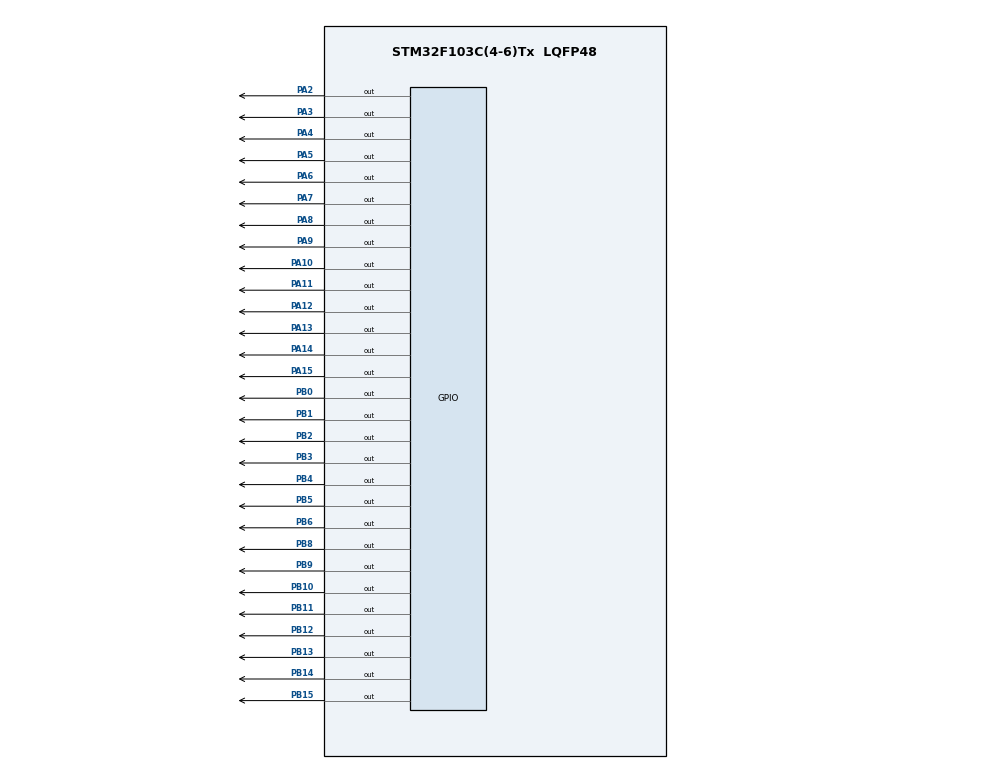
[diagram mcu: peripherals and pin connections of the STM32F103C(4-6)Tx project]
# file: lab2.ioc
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Mcu.Family=STM32F1
Mcu.Name=STM32F103C(4-6)Tx
Mcu.Package=LQFP48
NVIC.PriorityGroup=NVIC_PRIORITYGROUP_4
NVIC.TIM2_IRQn=true\:0\:0\:false\:false\:true\:true\:true
PA10.Signal=GPIO_Output
PA11.Signal=GPIO_Output
PA12.Signal=GPIO_Output
PA13.Signal=GPIO_Output
PA14.Signal=GPIO_Output
PA15.Signal=GPIO_Output
PA2.Signal=GPIO_Output
PA3.Signal=GPIO_Output
PA4.Signal=GPIO_Output
PA5.Signal=GPIO_Output
PA6.Signal=GPIO_Output
PA7.Signal=GPIO_Output
PA8.Signal=GPIO_Output
PA9.Signal=GPIO_Output
PB0.Signal=GPIO_Output
PB1.Signal=GPIO_Output
PB10.Signal=GPIO_Output
PB11.Signal=GPIO_Output
PB12.Signal=GPIO_Output
PB13.Signal=GPIO_Output
PB14.Signal=GPIO_Output
PB15.Signal=GPIO_Output
PB2.Signal=GPIO_Output
PB3.Signal=GPIO_Output
PB4.Signal=GPIO_Output
PB5.Signal=GPIO_Output
PB6.Signal=GPIO_Output
PB8.Signal=GPIO_Output
PB9.Signal=GPIO_Output
PD0-OSC_IN.Mode=HSE-External-Oscillator
PD0-OSC_IN.Signal=RCC_OSC_IN
PD1-OSC_OUT.Mode=HSE-External-Oscillator
PD1-OSC_OUT.Signal=RCC_OSC_OUT
ProjectManager.HeapSize=0x200
ProjectManager.StackSize=0x400
ProjectManager.TargetToolchain=STM32CubeIDE
RCC.APB1Freq_Value=8000000
RCC.APB2Freq_Value=8000000
TIM2.Period=10
TIM2.Prescaler=8000-1
VP_SYS_VS_ND.Mode=No_Debug
VP_TIM2_VS_ClockSourceINT.Mode=Internal
board=custom

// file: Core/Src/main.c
/* USER CODE BEGIN Header */
/**
  ******************************************************************************
  * @file           : main.c
  * @brief          : Main program body
  ******************************************************************************
  * @attention
  *
  * <h2><center>&copy; Copyright (c) 2021 STMicroelectronics.
  * All rights reserved.</center></h2>
  *
  * This software component is licensed by ST under BSD 3-Clause license,
  * the "License"; You may not use this file except in compliance with the
  * License. You may obtain a copy of the License at:
  *                        opensource.org/licenses/BSD-3-Clause
  *
  ******************************************************************************
  */
/* USER CODE END Header */
#include "main.h"

TIM_HandleTypeDef htim2;

void SystemClock_Config(void);
static void MX_GPIO_Init(void);
static void MX_TIM2_Init(void);

/* USER CODE BEGIN 0 */
int timer0_counter = 0;
int timer0_flag=0;
int TIMER_CYCLE = 1;
void setTimer0(int duration){
	timer0_counter = duration / TIMER_CYCLE;
	timer0_flag = 0;
}
int timer1_counter = 0;
int timer1_flag=0;
void setTimer1(int duration){
	timer1_counter = duration / TIMER_CYCLE;
	timer1_flag = 0;
}

void timer_run(){
	if (timer0_counter > 0 ) {
		timer0_counter--;
	}
	if (timer0_counter == 0 ) {
		timer0_flag = 1;
	}
	if (timer1_counter > 0 ) {
		timer1_counter--;
	}
	if (timer1_counter == 0 ) {
		timer1_flag = 1;
	}
}

/* USER CODE END 0 */

int main(void)
{

  /* MCU Configuration--------------------------------------------------------*/

  /* Reset of all peripherals, Initializes the Flash interface and the Systick. */
  HAL_Init();

  /* Configure the system clock */
  SystemClock_Config();

  /* Initialize all configured peripherals */
  MX_GPIO_Init();
  MX_TIM2_Init();
  /* USER CODE BEGIN 2 */
  HAL_TIM_Base_Start_IT(&htim2);
  /* USER CODE END 2 */

  /* Infinite loop */
  /* USER CODE BEGIN WHILE */
  /* USER CODE BEGIN WHILE */
    const int MAX_LED_MATRIX = 8;
    int index_led_matrix = 0;
    uint8_t matrix_buffer[][8] = {
  		  {0x00,0xFE,0xFF,0x11,0x11,0xFF,0xFE,0x00},
  		  {0xFE,0xFF,0x11,0x11,0xFF,0xFE,0x00,0x00},
  		  {0xFF,0x11,0x11,0xFF,0xFE,0x00,0x00,0x00},
  		  {0x11,0x11,0xFF,0xFE,0x00,0x00,0x00,0x00},
  		  {0x11,0x11,0xFF,0xFE,0x00,0x00,0x00,0x00},
  		  {0x11,0xFF,0xFE,0x00,0x00,0x00,0x00,0x00},
  		  {0xFF,0xFE,0x00,0x00,0x00,0x00,0x00,0x00},
  		  {0xFE,0x00,0x00,0x00,0x00,0x00,0x00,0x00},
  		  {0x00,0x00,0x00,0x00,0x00,0x00,0x00,0xFE},
  		  {0x00,0x00,0x00,0x00,0x00,0x00,0xFE,0xFF},
  		  {0x00,0x00,0x00,0x00,0x00,0xFE,0xFF,0x09},
  		  {0x00,0x00,0x00,0x00,0xFE,0xFF,0x09,0x09},
  		  {0x00,0x00,0x00,0xFE,0xFF,0x09,0x09,0xFF},
  		  {0x00,0x00,0xFE,0xFF,0x09,0x09,0xFF,0xFE},
  		  {0x00,0xFE,0xFF,0x11,0x11,0xFF,0xFE,0x00}};
    int i = 0;
    int j = 0;
    setTimer0(1);
    setTimer1(1000);
    while (1)
    {
      /* USER CODE END WHILE */
  	  if (timer0_flag == 1 ){
  		  updateLEDMatrix(i,matrix_buffer[j][i]);
  		  i++;
  		  if (i == 8 ) i = 0;
  		  setTimer0(2);
  	  }
  	  if (timer1_flag == 1 ){
  		  j++;
  		  if (j == 15 ) j = 0;
  		  setTimer1(1000);
  	  }
    }
  }

  void updateLEDMatrix( int index, uint8_t byte ) {
  	switch (index){
  		case 0:
  			ClearAllClock();
  			HAL_GPIO_WritePin(GPIOA, GPIO_PIN_2, 0);
  			HAL_GPIO_WritePin(GPIOB, GPIO_PIN_8, ~byte&0x01);
  			byte = byte >> 1;
  			HAL_GPIO_WritePin(GPIOB, GPIO_PIN_9, ~byte&0x01);
  			byte = byte >> 1;
  			HAL_GPIO_WritePin(GPIOB, GPIO_PIN_10, ~byte&0x01);
  			byte = byte >> 1;
  			HAL_GPIO_WritePin(GPIOB, GPIO_PIN_11, ~byte&0x01);
  			byte = byte >> 1;
  			HAL_GPIO_WritePin(GPIOB, GPIO_PIN_12, ~byte&0x01);
  			byte = byte >> 1;
  			HAL_GPIO_WritePin(GPIOB, GPIO_PIN_13, ~byte&0x01);
  			byte = byte >> 1;
  			HAL_GPIO_WritePin(GPIOB, GPIO_PIN_14, ~byte&0x01);
  			byte = byte >> 1;
  			HAL_GPIO_WritePin(GPIOB, GPIO_PIN_15, ~byte&0x01);
  			byte = byte >> 1;
  			break;
  		case 1:
  			ClearAllClock();
  			HAL_GPIO_WritePin(GPIOA, GPIO_PIN_3, 0);
  			HAL_GPIO_WritePin(GPIOB, GPIO_PIN_8, ~byte&0x01);
  			byte = byte >> 1;
  			HAL_GPIO_WritePin(GPIOB, GPIO_PIN_9, ~byte&0x01);
  			byte = byte >> 1;
  			HAL_GPIO_WritePin(GPIOB, GPIO_PIN_10, ~byte&0x01);
  			byte = byte >> 1;
  			HAL_GPIO_WritePin(GPIOB, GPIO_PIN_11, ~byte&0x01);
  			byte = byte >> 1;
  			HAL_GPIO_WritePin(GPIOB, GPIO_PIN_12, ~byte&0x01);
  			byte = byte >> 1;
  			HAL_GPIO_WritePin(GPIOB, GPIO_PIN_13, ~byte&0x01);
  			byte = byte >> 1;
  			HAL_GPIO_WritePin(GPIOB, GPIO_PIN_14, ~byte&0x01);
  			byte = byte >> 1;
  			HAL_GPIO_WritePin(GPIOB, GPIO_PIN_15, ~byte&0x01);
  			byte = byte >> 1;
  			break;
  		case 2:
  			ClearAllClock();
  			HAL_GPIO_WritePin(GPIOA, GPIO_PIN_10, 0);
  			HAL_GPIO_WritePin(GPIOB, GPIO_PIN_8, ~byte&0x01);
  			byte = byte >> 1;
  			HAL_GPIO_WritePin(GPIOB, GPIO_PIN_9, ~byte&0x01);
  			byte = byte >> 1;
  			HAL_GPIO_WritePin(GPIOB, GPIO_PIN_10, ~byte&0x01);
  			byte = byte >> 1;
  			HAL_GPIO_WritePin(GPIOB, GPIO_PIN_11, ~byte&0x01);
  			byte = byte >> 1;
  			HAL_GPIO_WritePin(GPIOB, GPIO_PIN_12, ~byte&0x01);
  			byte = byte >> 1;
  			HAL_GPIO_WritePin(GPIOB, GPIO_PIN_13, ~byte&0x01);
  			byte = byte >> 1;
  			HAL_GPIO_WritePin(GPIOB, GPIO_PIN_14, ~byte&0x01);
  			byte = byte >> 1;
  			HAL_GPIO_WritePin(GPIOB, GPIO_PIN_15, ~byte&0x01);
  			byte = byte >> 1;
  			break;
  		case 3:
  			ClearAllClock();
  			HAL_GPIO_WritePin(GPIOA, GPIO_PIN_11, 0);
  			HAL_GPIO_WritePin(GPIOB, GPIO_PIN_8, ~byte&0x01);
  			byte = byte >> 1;
  			HAL_GPIO_WritePin(GPIOB, GPIO_PIN_9, ~byte&0x01);
  			byte = byte >> 1;
  			HAL_GPIO_WritePin(GPIOB, GPIO_PIN_10, ~byte&0x01);
  			byte = byte >> 1;
  			HAL_GPIO_WritePin(GPIOB, GPIO_PIN_11, ~byte&0x01);
  			byte = byte >> 1;
  			HAL_GPIO_WritePin(GPIOB, GPIO_PIN_12, ~byte&0x01);
  			byte = byte >> 1;
  			HAL_GPIO_WritePin(GPIOB, GPIO_PIN_13, ~byte&0x01);
  			byte = byte >> 1;
  			HAL_GPIO_WritePin(GPIOB, GPIO_PIN_14, ~byte&0x01);
  			byte = byte >> 1;
  			HAL_GPIO_WritePin(GPIOB, GPIO_PIN_15, ~byte&0x01);
  			byte = byte >> 1;
  			break;
  		case 4:
  			ClearAllClock();
  			HAL_GPIO_WritePin(GPIOA, GPIO_PIN_12, 0);
  			HAL_GPIO_WritePin(GPIOB, GPIO_PIN_8, ~byte&0x01);
  			byte = byte >> 1;
  			HAL_GPIO_WritePin(GPIOB, GPIO_PIN_9, ~byte&0x01);
  			byte = byte >> 1;
  			HAL_GPIO_WritePin(GPIOB, GPIO_PIN_10, ~byte&0x01);
  			byte = byte >> 1;
  			HAL_GPIO_WritePin(GPIOB, GPIO_PIN_11, ~byte&0x01);
  			byte = byte >> 1;
  			HAL_GPIO_WritePin(GPIOB, GPIO_PIN_12, ~byte&0x01);
  			byte = byte >> 1;
  			HAL_GPIO_WritePin(GPIOB, GPIO_PIN_13, ~byte&0x01);
  			byte = byte >> 1;
  			HAL_GPIO_WritePin(GPIOB, GPIO_PIN_14, ~byte&0x01);
  			byte = byte >> 1;
  			HAL_GPIO_WritePin(GPIOB, GPIO_PIN_15, ~byte&0x01);
  			byte = byte >> 1;
  			break;
  		case 5:
  			ClearAllClock();
  			HAL_GPIO_WritePin(GPIOA, GPIO_PIN_13, 0);
  			HAL_GPIO_WritePin(GPIOB, GPIO_PIN_8, ~byte&0x01);
  			byte = byte >> 1;
  			HAL_GPIO_WritePin(GPIOB, GPIO_PIN_9, ~byte&0x01);
  			byte = byte >> 1;
  			HAL_GPIO_WritePin(GPIOB, GPIO_PIN_10, ~byte&0x01);
  			byte = byte >> 1;
  			HAL_GPIO_WritePin(GPIOB, GPIO_PIN_11, ~byte&0x01);
  			byte = byte >> 1;
  			HAL_GPIO_WritePin(GPIOB, GPIO_PIN_12, ~byte&0x01);
  			byte = byte >> 1;
  			HAL_GPIO_WritePin(GPIOB, GPIO_PIN_13, ~byte&0x01);
  			byte = byte >> 1;
  			HAL_GPIO_WritePin(GPIOB, GPIO_PIN_14, ~byte&0x01);
  			byte = byte >> 1;
  			HAL_GPIO_WritePin(GPIOB, GPIO_PIN_15, ~byte&0x01);
  			byte = byte >> 1;
  			break;
  		case 6:
  			ClearAllClock();
  			HAL_GPIO_WritePin(GPIOA, GPIO_PIN_14, 0);
  			HAL_GPIO_WritePin(GPIOB, GPIO_PIN_8, ~byte&0x01);
  			byte = byte >> 1;
  			HAL_GPIO_WritePin(GPIOB, GPIO_PIN_9, ~byte&0x01);
  			byte = byte >> 1;
  			HAL_GPIO_WritePin(GPIOB, GPIO_PIN_10, ~byte&0x01);
  			byte = byte >> 1;
  			HAL_GPIO_WritePin(GPIOB, GPIO_PIN_11, ~byte&0x01);
  			byte = byte >> 1;
  			HAL_GPIO_WritePin(GPIOB, GPIO_PIN_12, ~byte&0x01);
  			byte = byte >> 1;
  			HAL_GPIO_WritePin(GPIOB, GPIO_PIN_13, ~byte&0x01);
  			byte = byte >> 1;
  			HAL_GPIO_WritePin(GPIOB, GPIO_PIN_14, ~byte&0x01);
  			byte = byte >> 1;
  			HAL_GPIO_WritePin(GPIOB, GPIO_PIN_15, ~byte&0x01);
  			byte = byte >> 1;
  			break;
  		case 7:
  			ClearAllClock();
  			HAL_GPIO_WritePin(GPIOA, GPIO_PIN_15, 0);
  			HAL_GPIO_WritePin(GPIOB, GPIO_PIN_8, ~byte&0x01);
  			byte = byte >> 1;
  			HAL_GPIO_WritePin(GPIOB, GPIO_PIN_9, ~byte&0x01);
  			byte = byte >> 1;
  			HAL_GPIO_WritePin(GPIOB, GPIO_PIN_10, ~byte&0x01);
  			byte = byte >> 1;
  			HAL_GPIO_WritePin(GPIOB, GPIO_PIN_11, ~byte&0x01);
  			byte = byte >> 1;
  			HAL_GPIO_WritePin(GPIOB, GPIO_PIN_12, ~byte&0x01);
  			byte = byte >> 1;
  			HAL_GPIO_WritePin(GPIOB, GPIO_PIN_13, ~byte&0x01);
  			byte = byte >> 1;
  			HAL_GPIO_WritePin(GPIOB, GPIO_PIN_14, ~byte&0x01);
  			byte = byte >> 1;
  			HAL_GPIO_WritePin(GPIOB, GPIO_PIN_15, ~byte&0x01);
  			byte = byte >> 1;
  			break;
  		default:
  			ClearAllClock();
  			break;
  	}
  }
  void ClearAllClock(){
  	  HAL_GPIO_WritePin(GPIOA, GPIO_PIN_2, 1);
  	  HAL_GPIO_WritePin(GPIOA, GPIO_PIN_3, 1);
  	  HAL_GPIO_WritePin(GPIOA, GPIO_PIN_10, 1);
  	  HAL_GPIO_WritePin(GPIOA, GPIO_PIN_11, 1);
  	  HAL_GPIO_WritePin(GPIOA, GPIO_PIN_12, 1);
  	  HAL_GPIO_WritePin(GPIOA, GPIO_PIN_13, 1);
  	  HAL_GPIO_WritePin(GPIOA, GPIO_PIN_14, 1);
  	  HAL_GPIO_WritePin(GPIOA, GPIO_PIN_15, 1);

  }

void SystemClock_Config(void)
{
  RCC_OscInitTypeDef RCC_OscInitStruct = {0};
  RCC_ClkInitTypeDef RCC_ClkInitStruct = {0};

  /** Initializes the RCC Oscillators according to the specified parameters
  * in the RCC_OscInitTypeDef structure.
  */
  RCC_OscInitStruct.OscillatorType = RCC_OSCILLATORTYPE_HSI;
  RCC_OscInitStruct.HSIState = RCC_HSI_ON;
  RCC_OscInitStruct.HSICalibrationValue = RCC_HSICALIBRATION_DEFAULT;
  RCC_OscInitStruct.PLL.PLLState = RCC_PLL_NONE;
  if (HAL_RCC_OscConfig(&RCC_OscInitStruct) != HAL_OK)
  {
    Error_Handler();
  }
  /** Initializes the CPU, AHB and APB buses clocks
  */
  RCC_ClkInitStruct.ClockType = RCC_CLOCKTYPE_HCLK|RCC_CLOCKTYPE_SYSCLK
                              |RCC_CLOCKTYPE_PCLK1|RCC_CLOCKTYPE_PCLK2;
  RCC_ClkInitStruct.SYSCLKSource = RCC_SYSCLKSOURCE_HSI;
  RCC_ClkInitStruct.AHBCLKDivider = RCC_SYSCLK_DIV1;
  RCC_ClkInitStruct.APB1CLKDivider = RCC_HCLK_DIV1;
  RCC_ClkInitStruct.APB2CLKDivider = RCC_HCLK_DIV1;

  if (HAL_RCC_ClockConfig(&RCC_ClkInitStruct, FLASH_LATENCY_0) != HAL_OK)
  {
    Error_Handler();
  }
}

static void MX_TIM2_Init(void)
{

  TIM_ClockConfigTypeDef sClockSourceConfig = {0};
  TIM_MasterConfigTypeDef sMasterConfig = {0};

  htim2.Instance = TIM2;
  htim2.Init.Prescaler = 800-1;
  htim2.Init.CounterMode = TIM_COUNTERMODE_UP;
  htim2.Init.Period = 10;
  htim2.Init.ClockDivision = TIM_CLOCKDIVISION_DIV1;
  htim2.Init.AutoReloadPreload = TIM_AUTORELOAD_PRELOAD_DISABLE;
  if (HAL_TIM_Base_Init(&htim2) != HAL_OK)
  {
    Error_Handler();
  }
  sClockSourceConfig.ClockSource = TIM_CLOCKSOURCE_INTERNAL;
  if (HAL_TIM_ConfigClockSource(&htim2, &sClockSourceConfig) != HAL_OK)
  {
    Error_Handler();
  }
  sMasterConfig.MasterOutputTrigger = TIM_TRGO_RESET;
  sMasterConfig.MasterSlaveMode = TIM_MASTERSLAVEMODE_DISABLE;
  if (HAL_TIMEx_MasterConfigSynchronization(&htim2, &sMasterConfig) != HAL_OK)
  {
    Error_Handler();
  }

}

static void MX_GPIO_Init(void)
{
  GPIO_InitTypeDef GPIO_InitStruct = {0};

  /* GPIO Ports Clock Enable */
  __HAL_RCC_GPIOD_CLK_ENABLE();
  __HAL_RCC_GPIOA_CLK_ENABLE();
  __HAL_RCC_GPIOB_CLK_ENABLE();

  /*Configure GPIO pin Output Level */
  HAL_GPIO_WritePin(GPIOA, GPIO_PIN_2|GPIO_PIN_3|GPIO_PIN_4|GPIO_PIN_5
                          |GPIO_PIN_6|GPIO_PIN_7|GPIO_PIN_8|GPIO_PIN_9
                          |GPIO_PIN_10|GPIO_PIN_11|GPIO_PIN_12|GPIO_PIN_13
                          |GPIO_PIN_14|GPIO_PIN_15, GPIO_PIN_RESET);

  /*Configure GPIO pin Output Level */
  HAL_GPIO_WritePin(GPIOB, GPIO_PIN_0|GPIO_PIN_1|GPIO_PIN_2|GPIO_PIN_10
                          |GPIO_PIN_11|GPIO_PIN_12|GPIO_PIN_13|GPIO_PIN_14
                          |GPIO_PIN_15|GPIO_PIN_3|GPIO_PIN_4|GPIO_PIN_5
                          |GPIO_PIN_6|GPIO_PIN_8|GPIO_PIN_9, GPIO_PIN_RESET);

  /*Configure GPIO pins : PA2 PA3 PA4 PA5
                           PA6 PA7 PA8 PA9
                           PA10 PA11 PA12 PA13
                           PA14 PA15 */
  GPIO_InitStruct.Pin = GPIO_PIN_2|GPIO_PIN_3|GPIO_PIN_4|GPIO_PIN_5
                          |GPIO_PIN_6|GPIO_PIN_7|GPIO_PIN_8|GPIO_PIN_9
                          |GPIO_PIN_10|GPIO_PIN_11|GPIO_PIN_12|GPIO_PIN_13
                          |GPIO_PIN_14|GPIO_PIN_15;
  GPIO_InitStruct.Mode = GPIO_MODE_OUTPUT_PP;
  GPIO_InitStruct.Pull = GPIO_NOPULL;
  GPIO_InitStruct.Speed = GPIO_SPEED_FREQ_LOW;
  HAL_GPIO_Init(GPIOA, &GPIO_InitStruct);

  /*Configure GPIO pins : PB0 PB1 PB2 PB10
                           PB11 PB12 PB13 PB14
                           PB15 PB3 PB4 PB5
                           PB6 PB8 PB9 */
  GPIO_InitStruct.Pin = GPIO_PIN_0|GPIO_PIN_1|GPIO_PIN_2|GPIO_PIN_10
                          |GPIO_PIN_11|GPIO_PIN_12|GPIO_PIN_13|GPIO_PIN_14
                          |GPIO_PIN_15|GPIO_PIN_3|GPIO_PIN_4|GPIO_PIN_5
                          |GPIO_PIN_6|GPIO_PIN_8|GPIO_PIN_9;
  GPIO_InitStruct.Mode = GPIO_MODE_OUTPUT_PP;
  GPIO_InitStruct.Pull = GPIO_NOPULL;
  GPIO_InitStruct.Speed = GPIO_SPEED_FREQ_LOW;
  HAL_GPIO_Init(GPIOB, &GPIO_InitStruct);

}

/* USER CODE BEGIN 4 */

void HAL_TIM_PeriodElapsedCallback(TIM_HandleTypeDef *htim) {
	timer_run();
}

/* USER CODE END 4 */

void Error_Handler(void)
{
  __disable_irq();
  while (1)
  {
  }
}

/************************ (C) COPYRIGHT STMicroelectronics *****END OF FILE****/
